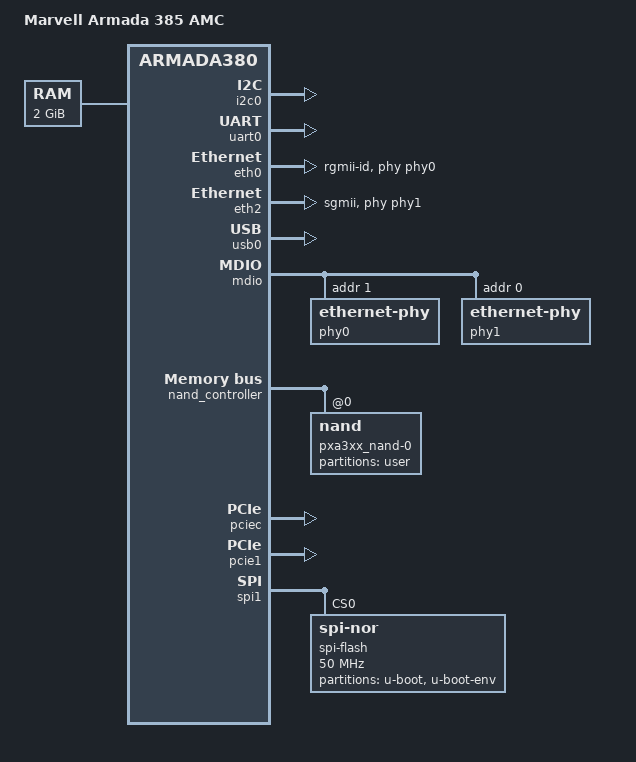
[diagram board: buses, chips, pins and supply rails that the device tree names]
// SPDX-License-Identifier: (GPL-2.0 OR MIT)
/*
 * Device Tree file for Marvell Armada 385 AMC board
 * (DB-88F6820-AMC)
 *
 * Copyright (C) 2017 Allied Telesis Labs
 */

/dts-v1/;
#include "armada-385.dtsi"

#include <dt-bindings/gpio/gpio.h>

/ {
	model = "Marvell Armada 385 AMC";
	compatible = "marvell,a385-db-amc", "marvell,armada385", "marvell,armada380";

	chosen {
		stdout-path = "serial0:115200n8";
	};

	aliases {
		ethernet0 = &eth0;
		ethernet1 = &eth1;
		spi1 = &spi1;
	};

	memory {
		device_type = "memory";
		reg = <0x00000000 0x80000000>; /* 2GB */
	};

	soc {
		ranges = <MBUS_ID(0xf0, 0x01) 0 0xf1000000 0x100000
			  MBUS_ID(0x01, 0x1d) 0 0xfff00000 0x100000>;
	};
};

&i2c0 {
	pinctrl-names = "default";
	pinctrl-0 = <&i2c0_pins>;
	status = "okay";
};

&uart0 {
	/*
	 * Exported on the micro USB connector CON3
	 * through an FTDI
	 */

	pinctrl-names = "default";
	pinctrl-0 = <&uart0_pins>;
	status = "okay";
};


&eth0 {
	pinctrl-names = "default";
	/*
	 * The Reference Clock 0 is used to provide a
	 * clock to the PHY
	 */
	pinctrl-0 = <&ge0_rgmii_pins>, <&ref_clk0_pins>;
	status = "okay";
	phy = <&phy0>;
	phy-mode = "rgmii-id";
};

&eth2 {
	status = "okay";
	phy = <&phy1>;
	phy-mode = "sgmii";
};

&usb0 {
	status = "okay";
};



&mdio {
	pinctrl-names = "default";
	pinctrl-0 = <&mdio_pins>;

	phy0: ethernet-phy@1 {
		reg = <1>;
	};

	phy1: ethernet-phy@0 {
		reg = <0>;
	};
};

&nand_controller {
	status = "okay";

	nand@0 {
		reg = <0>;
		label = "pxa3xx_nand-0";
		nand-rb = <0>;
		nand-on-flash-bbt;

		partitions {
			compatible = "fixed-partitions";
			#address-cells = <1>;
			#size-cells = <1>;
			partition@0 {
				reg = <0x00000000 0x40000000>;
				label = "user";
			};
		};
	};
};

&pciec {
	status = "okay";
};

&pcie1 {
	/* Port 0, Lane 0 */
	status = "okay";
};

&spi1 {
	pinctrl-names = "default";
	pinctrl-0 = <&spi1_pins>;
	status = "okay";

	spi-flash@0 {
		#address-cells = <1>;
		#size-cells = <1>;
		compatible = "jedec,spi-nor";
		reg = <0>; /* Chip select 0 */
		spi-max-frequency = <50000000>;
		m25p,fast-read;

		partitions {
			compatible = "fixed-partitions";
			#address-cells = <1>;
			#size-cells = <1>;
			partition@0 {
				reg = <0x00000000 0x00100000>;
				label = "u-boot";
			};
			partition@100000 {
				reg = <0x00100000 0x00040000>;
				label = "u-boot-env";
			};
		};
	};
};

&refclk {
	clock-frequency = <20000000>;
};
